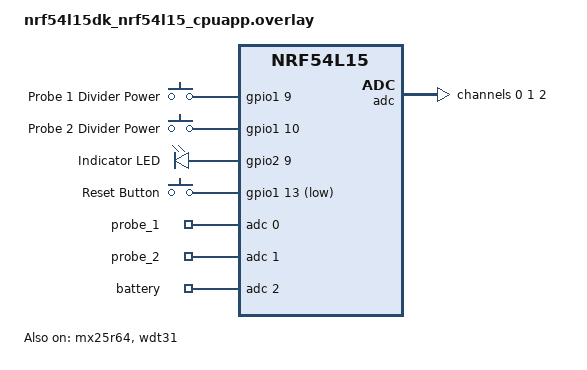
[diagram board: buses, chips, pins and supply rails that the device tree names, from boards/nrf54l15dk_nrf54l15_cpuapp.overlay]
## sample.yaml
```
sample:
  description: Matter Dual Temperature Sensor
  name: Matter Dual Temperature Sensor
common:
  tags:
    - sysbuild
    - ci_samples_matter
  # Only the nRF54L15 overlays describe this application's hardware (the
  # zephyr,user ADC channels, the probe divider power pins, the indicator LED
  # and the reset button), so no other board can be built.
  integration_platforms:
    - nrf54l15dk/nrf54l15/cpuapp
  platform_allow:
    - nrf54l15dk/nrf54l15/cpuapp
tests:
  sample.matter.dual_temperature_sensor.debug:
    sysbuild: true
    build_only: true
  sample.matter.dual_temperature_sensor.release:
    sysbuild: true
    build_only: true
    extra_args:
      - EXTRA_CONF_FILE=prj_release.conf
  sample.matter.dual_temperature_sensor.internal:
    sysbuild: true
    build_only: true
    extra_args:
      - FILE_SUFFIX=internal
  sample.matter.dual_temperature_sensor.release.internal:
    sysbuild: true
    build_only: true
    extra_args:
      - FILE_SUFFIX=internal
      - EXTRA_CONF_FILE=prj_release.conf
  sample.matter.dual_temperature_sensor.minewsemi:
    sysbuild: true
    build_only: true
    extra_args:
      - FILE_SUFFIX=minewsemi
  sample.matter.dual_temperature_sensor.release.minewsemi:
    sysbuild: true
    build_only: true
    extra_args:
      - FILE_SUFFIX=minewsemi
      - EXTRA_CONF_FILE=prj_release.conf
```

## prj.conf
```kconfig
#
# Copyright (c) 2021 Nordic Semiconductor ASA
#
# SPDX-License-Identifier: LicenseRef-Nordic-5-Clause
#

# This sample uses Kconfig.defaults to set options common for all
# samples. This file should contain only options specific for this sample
# or overrides of default values.

# Enable CHIP
CONFIG_CHIP=y
CONFIG_CHIP_PROJECT_CONFIG="src/chip_project_config.h"

# Configure ZAP file name
CONFIG_NCS_SAMPLE_MATTER_ZAP_FILE_PATH="${APPLICATION_CONFIG_DIR}/src/zap/template.zap"

# 32768 == 0x8000 (example Product ID added temporaly,
# but it must be changed with proper PID from the list:
# https://github.com/project-chip/connectedhomeip/blob/482e6fd03196a6de45465a90003947ef4b86e0b1/docs/examples/discussion/PID_allocation_for_example_apps.md)
CONFIG_CHIP_DEVICE_PRODUCT_ID=32768
CONFIG_STD_CPP17=y

# Enable Matter pairing automatically on application start.
CONFIG_CHIP_ENABLE_PAIRING_AUTOSTART=y

# Enable Matter extended announcement and increase duration to 1 hour.
CONFIG_CHIP_BLE_EXT_ADVERTISING=y
CONFIG_CHIP_BLE_ADVERTISING_DURATION=60

# Add support for LEDs and buttons on Nordic development kits
CONFIG_DK_LIBRARY=n

# Bluetooth Low Energy configuration
CONFIG_BT_DEVICE_NAME="DualTempSensor"

# Other settings
CONFIG_THREAD_NAME=y
CONFIG_MPU_STACK_GUARD=y
CONFIG_RESET_ON_FATAL_ERROR=y
CONFIG_CHIP_LIB_SHELL=y
CONFIG_NCS_SAMPLE_MATTER_TEST_SHELL=y

# Disable NFC onboarding
CONFIG_CHIP_NFC_ONBOARDING_PAYLOAD=n

# Enable Factory Data feature
CONFIG_CHIP_FACTORY_DATA=y
CONFIG_CHIP_FACTORY_DATA_BUILD=y

CONFIG_GPIO=y
CONFIG_ADC=y

CONFIG_USE_SEGGER_RTT=y
CONFIG_LOG_MODE_MINIMAL=n
CONFIG_LOG_MODE_IMMEDIATE=y
CONFIG_LOG_BACKEND_RTT=y

CONFIG_CHIP_PERSISTENT_SUBSCRIPTIONS=n

CONFIG_CLOCK_CONTROL_NRF_K32SRC_XTAL=y
CONFIG_CLOCK_CONTROL_NRF_K32SRC_RC=n

CONFIG_BT_RX_STACK_SIZE=2048

CONFIG_OPENTHREAD_DEFAULT_TX_POWER=8

# Enabling low power
CONFIG_PM_DEVICE=y

# Switch Minimal Thread Device on
CONFIG_OPENTHREAD_NORDIC_LIBRARY_MTD=y
CONFIG_OPENTHREAD_MTD=y
CONFIG_OPENTHREAD_FTD=n

# Set Matter as Intermittent Connected Device
CONFIG_CHIP_ENABLE_ICD_SUPPORT=y
CONFIG_CHIP_ICD_LIT_SUPPORT=y
CONFIG_CHIP_ICD_UAT_SUPPORT=y
CONFIG_CHIP_ICD_REPORT_ON_ACTIVE_MODE=y

# How long the device stays in ActiveMode (fast polling) after it wakes, which is
# the window a client has to answer a check-in. ActiveModeThreshold only extends
# ActiveMode once something has been received, so it does not help here. The 300 ms
# default is shorter than a controller needs to resolve the node over DNS-SD and
# start CASE (~400 ms seen from the heating monitor): its Sigma1 then reached the
# parent just after the device went idle, sat there for the 300 s slow poll, and
# the session setup timed out. 2 s covers that with a few 500 ms fast polls spare,
# for a handful of extra polls per wake.
#
CONFIG_CHIP_ICD_ACTIVE_MODE_DURATION=2000

# CONFIG_CHIP_ICD_SLOW_POLL_INTERVAL defaults to 300000 (300s) once LIT support is
# on, but OpenThread's child timeout defaults to 240s. Left alone, a device that
# has been promoted to LIT operation polls its parent less often than the parent
# is willing to wait, so the parent drops the child and every idle period ends in
# a re-attach - which costs far more energy than the polling it was meant to save.
# The SIT slow poll limit (15s) masks this until a controller registers as an ICD
# client, so it only shows up once the device is in a real ecosystem.
#
# The child timeout has to outlast the polling interval with enough margin to
# survive a poll that does not get through.
#
CONFIG_OPENTHREAD_MLE_CHILD_TIMEOUT=360

# Child supervision: if nothing arrives from the parent within this many seconds,
# the child sends it a Child Update Request to check it is still attached. The
# 190s default is shorter than the 300s slow poll, and the child only hears from
# its parent when it polls, so it fired on every idle period. At 330s it only
# fires when a poll came back empty - still ahead of the parent's 360s child
# timeout, so the child can re-sync before the parent gives up on it.
#
CONFIG_OPENTHREAD_CHILD_SUPERVISION_CHECK_TIMEOUT=330

# More power saving.
CONFIG_RAM_POWER_DOWN_LIBRARY=y
```

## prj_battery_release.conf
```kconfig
# Configure ZAP file name
CONFIG_NCS_SAMPLE_MATTER_ZAP_FILE_PATH="${APPLICATION_CONFIG_DIR}/src/zap_battery/template.zap"

# Enable system reset on fatal error
CONFIG_RESET_ON_FATAL_ERROR=y

CONFIG_THREAD_NAME=n
CONFIG_MPU_STACK_GUARD=n
CONFIG_CHIP_LIB_SHELL=n
CONFIG_NCS_SAMPLE_MATTER_TEST_SHELL=n

# Disable all debug features
CONFIG_USE_SEGGER_RTT=n
CONFIG_SHELL=n
CONFIG_OPENTHREAD_SHELL=n
CONFIG_CHIP_LIB_SHELL=n
CONFIG_CONSOLE=n
CONFIG_UART_CONSOLE=n
CONFIG_SERIAL=n
CONFIG_LOG=n
CONFIG_LOG_MODE_MINIMAL=y
CONFIG_LOG_MODE_IMMEDIATE=n
CONFIG_LOG_BACKEND_RTT=n
CONFIG_ASSERT_VERBOSE=n
CONFIG_ASSERT_NO_FILE_INFO=y
CONFIG_PRINTK=n
CONFIG_PRINTK_SYNC=n
CONFIG_THREAD_NAME=n
CONFIG_BOOT_BANNER=n

# Enable Watchdog
CONFIG_NCS_SAMPLE_MATTER_WATCHDOG=n

# Enable LTO to decrease the flash usage.
CONFIG_LTO=y
CONFIG_ISR_TABLES_LOCAL_DECLARATION=y

# Enabling low power
CONFIG_PM_DEVICE=y
CONFIG_PM_DEVICE_RUNTIME=y

CONFIG_OPENTHREAD_MTD=y
CONFIG_OPENTHREAD_NORDIC_LIBRARY_MTD=y

CONFIG_CHIP_ENABLE_ICD_SUPPORT=y
CONFIG_CHIP_ICD_LIT_SUPPORT=y
CONFIG_CHIP_ICD_REPORT_ON_ACTIVE_MODE=y

CONFIG_RAM_POWER_DOWN_LIBRARY=y
```

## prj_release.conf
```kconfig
# Release overrides. Applied on top of prj.conf, which already carries the ZAP
# file path, the MTD/ICD configuration and the base power savings.

# Enable system reset on fatal error
CONFIG_RESET_ON_FATAL_ERROR=y

CONFIG_THREAD_NAME=n
CONFIG_MPU_STACK_GUARD=n
CONFIG_CHIP_LIB_SHELL=n
CONFIG_NCS_SAMPLE_MATTER_TEST_SHELL=n

# Disable all debug features
CONFIG_USE_SEGGER_RTT=n
CONFIG_SHELL=n
CONFIG_OPENTHREAD_SHELL=n
CONFIG_CHIP_LIB_SHELL=n
CONFIG_CONSOLE=n
CONFIG_UART_CONSOLE=n
CONFIG_SERIAL=n
CONFIG_LOG=n
CONFIG_LOG_MODE_MINIMAL=y
CONFIG_LOG_MODE_IMMEDIATE=n
CONFIG_LOG_BACKEND_RTT=n
CONFIG_ASSERT_VERBOSE=n
CONFIG_ASSERT_NO_FILE_INFO=y
CONFIG_PRINTK=n
CONFIG_PRINTK_SYNC=n
CONFIG_BOOT_BANNER=n

# Enable Watchdog
CONFIG_NCS_SAMPLE_MATTER_WATCHDOG=n

# Enable LTO to decrease the flash usage.
CONFIG_LTO=y
CONFIG_ISR_TABLES_LOCAL_DECLARATION=y

# Additional power saving on top of prj.conf
CONFIG_PM_DEVICE_RUNTIME=y
```

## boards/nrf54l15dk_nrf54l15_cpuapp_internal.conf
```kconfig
#
# Copyright (c) 2024 Nordic Semiconductor ASA
#
# SPDX-License-Identifier: LicenseRef-Nordic-5-Clause
#

# SPI NOR is not disabled here: NCS v3.2 removed CONFIG_CHIP_SPI_NOR and now
# derives CONFIG_SPI_NOR from the devicetree, and the overlay for this board
# already disables mx25r64.

# Enable Watchdog
CONFIG_NCS_SAMPLE_MATTER_WATCHDOG=y

# Enable LTO to decrease the flash usage.
CONFIG_LTO=y
CONFIG_ISR_TABLES_LOCAL_DECLARATION=y
```

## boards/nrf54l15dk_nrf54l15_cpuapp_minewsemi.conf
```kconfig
#
# Copyright (c) 2024 Nordic Semiconductor ASA
#
# SPDX-License-Identifier: LicenseRef-Nordic-5-Clause
#

CONFIG_POWEROFF=y

# Enable Watchdog
CONFIG_NCS_SAMPLE_MATTER_WATCHDOG=n

# Enable LTO to decrease the flash usage.
CONFIG_LTO=y
CONFIG_ISR_TABLES_LOCAL_DECLARATION=y
```

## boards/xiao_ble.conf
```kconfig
# Seeed XIAO nRF52840, four probes, USB powered.
#
# Applied on top of prj.conf, which is written for the battery-powered nRF54L15 board.

# Four temperature endpoints, a wired PowerSource and no ICD Management cluster.
CONFIG_NCS_SAMPLE_MATTER_ZAP_FILE_PATH="${APPLICATION_CONFIG_DIR}/src/zap_quad/template.zap"

CONFIG_BT_DEVICE_NAME="QuadTempSensor"

# The board defaults assume the UF2 bootloader. This build runs MCUboot with the partition
# manager layout in pm_static_xiao_ble_nrf52840.yml instead, and is flashed over SWD.
CONFIG_BUILD_OUTPUT_UF2=n

# USB powered, so it is an always-on Thread router-capable device rather than a sleepy
# end device. Readings then reach the controller as they are taken, which the heat
# calculations need: they combine probes that must be sampled at the same moment.
CONFIG_CHIP_ENABLE_ICD_SUPPORT=n
CONFIG_CHIP_ICD_LIT_SUPPORT=n
CONFIG_CHIP_ICD_UAT_SUPPORT=n
CONFIG_CHIP_ICD_REPORT_ON_ACTIVE_MODE=n
CONFIG_OPENTHREAD_NORDIC_LIBRARY_MTD=n
CONFIG_OPENTHREAD_NORDIC_LIBRARY_FTD=y
CONFIG_OPENTHREAD_MTD=n
CONFIG_OPENTHREAD_FTD=y
CONFIG_RAM_POWER_DOWN_LIBRARY=n

# Whether this board carries a 32 kHz crystal is not something to bet the radio on; the
# calibrated RC oscillator is well within what Thread and BLE need.
CONFIG_CLOCK_CONTROL_NRF_K32SRC_XTAL=n
CONFIG_CLOCK_CONTROL_NRF_K32SRC_RC=y

# The board's console and shell run over USB CDC ACM. prj.conf logs in immediate mode,
# which would write to the USB stack from whatever context logs; defer it to the log thread.
CONFIG_LOG_MODE_IMMEDIATE=n
CONFIG_LOG_MODE_DEFERRED=y

# The 2 MB QSPI flash holds the MCUboot secondary slot for Matter OTA.
CONFIG_NORDIC_QSPI_NOR=y
CONFIG_NORDIC_QSPI_NOR_FLASH_LAYOUT_PAGE_SIZE=4096
CONFIG_NORDIC_QSPI_NOR_STACK_WRITE_BUFFER_SIZE=16
```

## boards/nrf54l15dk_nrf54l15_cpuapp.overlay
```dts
/*
 * Copyright (c) 2024 Nordic Semiconductor ASA
 *
 * SPDX-License-Identifier: LicenseRef-Nordic-5-Clause
 */

/ {
	power {
		compatible = "gpio-keys";
		probe_1_divider_power: probe_1_divider_power {
			gpios = <&gpio1 9 (GPIO_PULL_DOWN | GPIO_ACTIVE_HIGH)>;
			label = "Probe 1 Divider Power";
		};
		probe_2_divider_power: probe_2_divider_power {
			gpios = <&gpio1 10 (GPIO_PULL_DOWN | GPIO_ACTIVE_HIGH)>;
			label = "Probe 2 Divider Power";
		};
	};

	leds {
		compatible = "gpio-leds";
		led0: led_0 {
			gpios = <&gpio2 9 GPIO_ACTIVE_HIGH>;
			label = "Indicator LED";
		};
	};

	buttons {
		compatible = "gpio-keys";
		button0: button_0 {
			gpios = <&gpio1 13 (GPIO_PULL_UP | GPIO_ACTIVE_LOW)>;
			label = "Reset Button";
		};
	};

	aliases {
		// Use watchdog wdt31 as the application watchdog
		watchdog0 = &wdt31;
		indicator-led = &led0;
		reset-button = &button0;
	};

	chosen {
	 	nordic,pm-ext-flash = &mx25r64;
	};

	zephyr,user {
		io-channels = <&adc 0>, <&adc 1>, <&adc 2>;
		io-channel-names = "probe_1", "probe_2", "battery";
	};
};

&adc {
	#address-cells = <1>;
	#size-cells = <0>;
    status = "okay";

	/* Probe dividers. Powered from a GPIO switching VDD, so the node swings
	 * against the cell voltage rather than a fixed rail, and it is the NTC's
	 * high-resistance (cold) end that pushes the node up towards the supply.
	 *
	 * Gain 1/4 against the 900 mV internal reference puts full scale at 3.6 V,
	 * which covers the whole rail. Gain 1/2 would cap it at 1.8 V - with a fresh
	 * 3.0 V cell that saturates below about 16 C, and below about 5 C at 2.5 V.
	 *
	 * The battery channel below deliberately uses the same gain: the resistance
	 * is derived from the ratio of these two readings, and matching gains keeps
	 * that ratio a straight division.
	 */
	channel@0 {
		reg = <0>;
		zephyr,gain = "ADC_GAIN_1_4";
		zephyr,reference = "ADC_REF_INTERNAL";
		zephyr,acquisition-time = <ADC_ACQ_TIME_DEFAULT>;
		zephyr,input-positive = <NRF_SAADC_AIN5>;
		zephyr,resolution = <12>;
		zephyr,oversampling = <8>;
	};

	channel@1 {
		reg = <1>;
		zephyr,gain = "ADC_GAIN_1_4";
		zephyr,reference = "ADC_REF_INTERNAL";
		zephyr,acquisition-time = <ADC_ACQ_TIME_DEFAULT>;
		zephyr,input-positive = <NRF_SAADC_AIN4>;
		zephyr,resolution = <12>;
		zephyr,oversampling = <8>;
	};

	/* Battery voltage. The coin cell drives VDD directly - there is no LDO and
	 * no divider on this board - so the SAADC internal VDD input gives the cell
	 * voltage with no extra hardware and no quiescent draw.
	 *
	 * The nRF54L internal reference is 900 mV, so gain 1/4 puts full scale at
	 * 3.6 V. Note the nRF54L15 has no 1/6 gain (only 2, 1, 2/3, 2/4, 2/5, 2/6,
	 * 2/7, 2/8), so ADC_GAIN_1_6 would fail channel setup with -EINVAL.
	 */
	channel@2 {
		reg = <2>;
		zephyr,gain = "ADC_GAIN_1_4";
		zephyr,reference = "ADC_REF_INTERNAL";
		zephyr,acquisition-time = <ADC_ACQ_TIME_DEFAULT>;
		zephyr,input-positive = <NRF_SAADC_VDD>;
		zephyr,resolution = <12>;
		zephyr,oversampling = <8>;
	};
};

// restore full RRAM and SRAM space - by default some parts are dedicated to FLRP
&cpuapp_rram {
	reg = <0x0 DT_SIZE_K(1524)>;
};

&cpuapp_sram {
	reg = <0x20000000 DT_SIZE_K(256)>;
	ranges = <0x0 0x20000000  0x40000>;
};

&mx25r64 {
	status = "okay";
};

&wdt31 {
	status = "okay";
};
```

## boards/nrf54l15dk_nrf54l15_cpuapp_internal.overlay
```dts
/*
 * Copyright (c) 2024 Nordic Semiconductor ASA
 *
 * SPDX-License-Identifier: LicenseRef-Nordic-5-Clause
 */

/ {
	power {
		compatible = "gpio-keys";
		probe_1_divider_power: probe_1_divider_power {
			gpios = <&gpio1 9 (GPIO_PULL_DOWN | GPIO_ACTIVE_HIGH)>;
			label = "Probe 1 Divider Power";
		};
		probe_2_divider_power: probe_2_divider_power {
			gpios = <&gpio1 10 (GPIO_PULL_DOWN | GPIO_ACTIVE_HIGH)>;
			label = "Probe 2 Divider Power";
		};
	};

	leds {
		compatible = "gpio-leds";
		led0: led_0 {
			gpios = <&gpio2 9 GPIO_ACTIVE_HIGH>;
			label = "Indicator LED";
		};
	};

	buttons {
		compatible = "gpio-keys";
		button0: button_0 {
			gpios = <&gpio1 13 (GPIO_PULL_UP | GPIO_ACTIVE_LOW)>;
			label = "Reset Button";
		};
	};

	aliases {
		// Use watchdog wdt31 as the application watchdog
		watchdog0 = &wdt31;
		indicator-led = &led0;
		reset-button = &button0;
	};

	zephyr,user {
		io-channels = <&adc 0>, <&adc 1>, <&adc 2>;
		io-channel-names = "probe_1", "probe_2", "battery";
	};
};

&adc {
	#address-cells = <1>;
	#size-cells = <0>;
    status = "okay";

	channel@0 {
		reg = <0>;
		zephyr,gain = "ADC_GAIN_1_2";
		zephyr,reference = "ADC_REF_INTERNAL";
		zephyr,acquisition-time = <ADC_ACQ_TIME_DEFAULT>;
		zephyr,input-positive = <NRF_SAADC_AIN5>;
		zephyr,resolution = <12>;
		zephyr,oversampling = <8>;
	};

	channel@1 {
		reg = <1>;
		zephyr,gain = "ADC_GAIN_1_2";
		zephyr,reference = "ADC_REF_INTERNAL";
		zephyr,acquisition-time = <ADC_ACQ_TIME_DEFAULT>;
		zephyr,input-positive = <NRF_SAADC_AIN4>;
		zephyr,resolution = <12>;
		zephyr,oversampling = <8>;
	};

	/* Battery voltage. The coin cell drives VDD directly - there is no LDO and
	 * no divider on this board - so the SAADC internal VDD input gives the cell
	 * voltage with no extra hardware and no quiescent draw.
	 *
	 * The nRF54L internal reference is 900 mV, so gain 1/4 puts full scale at
	 * 3.6 V. Note the nRF54L15 has no 1/6 gain (only 2, 1, 2/3, 2/4, 2/5, 2/6,
	 * 2/7, 2/8), so ADC_GAIN_1_6 would fail channel setup with -EINVAL.
	 */
	channel@2 {
		reg = <2>;
		zephyr,gain = "ADC_GAIN_1_4";
		zephyr,reference = "ADC_REF_INTERNAL";
		zephyr,acquisition-time = <ADC_ACQ_TIME_DEFAULT>;
		zephyr,input-positive = <NRF_SAADC_VDD>;
		zephyr,resolution = <12>;
		zephyr,oversampling = <8>;
	};
};

// restore full RRAM and SRAM space - by default some parts are dedicated to FLRP
&cpuapp_rram {
	reg = <0x0 DT_SIZE_K(1524)>;
};

&cpuapp_sram {
	reg = <0x20000000 DT_SIZE_K(256)>;
	ranges = <0x0 0x20000000  0x40000>;
};

&uart20 {
	status = "disabled";
};

&uart30 {
	status = "disabled";
};

&mx25r64 {
	status = "disabled";
};

&pwm20 {
	status = "disabled";
};

&wdt31 {
	status = "okay";
};
```

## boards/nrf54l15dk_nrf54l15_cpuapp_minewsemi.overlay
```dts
/*
 * Copyright (c) 2024 Nordic Semiconductor ASA
 *
 * SPDX-License-Identifier: LicenseRef-Nordic-5-Clause
 */

/ {
	/* No pull on any of these: gpio_pin_configure_dt() ORs the devicetree flags
	 * into the configuration, so a pull-down on a pin that is driven leaves the
	 * internal ~13k resistor fighting the output driver for as long as the pin is
	 * high - about 230uA at 3.0V. Only the button below is a real input and keeps
	 * its pull-down.
	 */
	power {
		compatible = "gpio-keys";
		probe_1_divider_power: probe_1_divider_power {
			gpios = <&gpio1 9 GPIO_ACTIVE_HIGH>;
			label = "Probe 1 Divider Power";
		};
		probe_2_divider_power: probe_2_divider_power {
			gpios = <&gpio1 10 GPIO_ACTIVE_HIGH>;
			label = "Probe 2 Divider Power";
		};
	};

	leds {
		compatible = "gpio-leds";
		led0: led_0 {
			gpios = <&gpio2 10 GPIO_ACTIVE_HIGH>;
			label = "Indicator LED";
		};
	};

	buttons {
		compatible = "gpio-keys";
		button0: button_0 {
			gpios = <&gpio1 13 (GPIO_PULL_DOWN | GPIO_ACTIVE_HIGH)>;
			label = "Reset Button";
		};
	};

	aliases {
		indicator-led = &led0;
		reset-button = &button0;
	};

	zephyr,user {
		io-channels = <&adc 0>, <&adc 1>, <&adc 2>;
		io-channel-names = "probe_1", "probe_2", "battery";
	};
};

&gpio1 {
	status = "okay";
	sense-edge-mask = <0xffffffff>;
};

&adc {
	#address-cells = <1>;
	#size-cells = <0>;
    status = "okay";

	/* Probe dividers. Powered from a GPIO switching VDD, so the node swings
	 * against the cell voltage rather than a fixed rail, and it is the NTC's
	 * high-resistance (cold) end that pushes the node up towards the supply.
	 *
	 * Gain 1/4 against the 900 mV internal reference puts full scale at 3.6 V,
	 * which covers the whole rail. Gain 1/2 would cap it at 1.8 V - with a fresh
	 * 3.0 V cell that saturates below about 16 C, and below about 5 C at 2.5 V.
	 *
	 * The battery channel below deliberately uses the same gain: the resistance
	 * is derived from the ratio of these two readings, and matching gains keeps
	 * that ratio a straight division.
	 */
	channel@0 {
		reg = <0>;
		zephyr,gain = "ADC_GAIN_1_4";
		zephyr,reference = "ADC_REF_INTERNAL";
		zephyr,acquisition-time = <ADC_ACQ_TIME_DEFAULT>;
		zephyr,input-positive = <NRF_SAADC_AIN4>;
		zephyr,resolution = <12>;
		zephyr,oversampling = <8>;
	};

	channel@1 {
		reg = <1>;
		zephyr,gain = "ADC_GAIN_1_4";
		zephyr,reference = "ADC_REF_INTERNAL";
		zephyr,acquisition-time = <ADC_ACQ_TIME_DEFAULT>;
		zephyr,input-positive = <NRF_SAADC_AIN5>;
		zephyr,resolution = <12>;
		zephyr,oversampling = <8>;
	};

	/* Battery voltage. The coin cell drives VDD directly - there is no LDO and
	 * no divider on this board - so the SAADC internal VDD input gives the cell
	 * voltage with no extra hardware and no quiescent draw.
	 *
	 * The nRF54L internal reference is 900 mV, so gain 1/4 puts full scale at
	 * 3.6 V. Note the nRF54L15 has no 1/6 gain (only 2, 1, 2/3, 2/4, 2/5, 2/6,
	 * 2/7, 2/8), so ADC_GAIN_1_6 would fail channel setup with -EINVAL.
	 */
	channel@2 {
		reg = <2>;
		zephyr,gain = "ADC_GAIN_1_4";
		zephyr,reference = "ADC_REF_INTERNAL";
		zephyr,acquisition-time = <ADC_ACQ_TIME_DEFAULT>;
		zephyr,input-positive = <NRF_SAADC_VDD>;
		zephyr,resolution = <12>;
		zephyr,oversampling = <8>;
	};
};

// restore full RRAM and SRAM space - by default some parts are dedicated to FLRP
&cpuapp_rram {
	reg = <0x0 DT_SIZE_K(1524)>;
};

&cpuapp_sram {
	reg = <0x20000000 DT_SIZE_K(256)>;
	ranges = <0x0 0x20000000  0x40000>;
};

/* Disable unused communication peripherals */
&i2c20 {
	status = "disabled";
};

&i2c21 {
	status = "disabled";
};

&i2c22 {
	status = "disabled";
};

&spi20 {
	status = "disabled";
};

&spi21 {
	status = "disabled";
};

&spi22 {
	status = "disabled";
};

&uart20 {
	status = "disabled";
};

&uart21 {
	status = "disabled";
};

&uart22 {
	status = "disabled";
};

&uart30 {
	status = "disabled";
};

&mx25r64 {
	status = "disabled";
};

/* Disable audio/sensor peripherals if not used */
&pdm20 {
	status = "disabled";
};

&pdm21 {
	status = "disabled";
};

&i2s20 {
	status = "disabled";
};

/* Disable quadrature decoder if not used */
&qdec20 {
	status = "disabled";
};

&qdec21 {
	status = "disabled";
};

&pwm20 {
	status = "disabled";
};

&pwm21 {
	status = "disabled";
};

&pwm22 {
	status = "disabled";
};

&wdt31 {
	status = "disabled";
};

/* Disable NFC if not used */
&nfct {
	status = "disabled";
};
```

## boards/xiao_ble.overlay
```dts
/*
 * Seeed XIAO nRF52840: four NTC probes, USB powered.
 *
 * Wiring (see README "Four probe build"):
 *
 *   3V3 --[10k]--+-- A0/A1/A2/A3
 *                |
 *               NTC   (screw terminal)
 *                |
 *   GND ---------+-- 100 nF from the A-pin node to GND
 *
 *   Optional factory reset button: D6 to GND.
 */

#include "xiao_ble_partitions.dtsi"

/ {
	buttons {
		compatible = "gpio-keys";
		button0: button_0 {
			gpios = <&gpio1 11 (GPIO_PULL_UP | GPIO_ACTIVE_LOW)>;	/* D6 */
			label = "Reset Button";
		};
	};

	aliases {
		indicator-led = &led1;	/* green, active low */
		reset-button = &button0;
	};

	/* No "battery" channel and no probe_N_divider_power nodes: the dividers sit on the
	 * 3V3 rail permanently, and each probe is read against VDD itself (see &adc below), so
	 * the supply never has to be measured.
	 */
	zephyr,user {
		io-channels = <&adc 0>, <&adc 1>, <&adc 2>, <&adc 3>;
		io-channel-names = "probe_1", "probe_2", "probe_3", "probe_4";
	};
};

&adc {
	#address-cells = <1>;
	#size-cells = <0>;
	status = "okay";

	/* Ratiometric: the reference is VDD/4 and the gain 1/4, so full scale is VDD - the
	 * same 3V3 rail that feeds the dividers. A reading is then the divider ratio itself,
	 * Rt = R * raw / (4096 - raw), and drift in the regulator cancels out.
	 *
	 * The source impedance is ~5k (10k against a 10k NTC near 25 C) with 100 nF across the
	 * input, well inside what the default 10 us acquisition time handles.
	 */
	channel@0 {
		reg = <0>;
		zephyr,gain = "ADC_GAIN_1_4";
		zephyr,reference = "ADC_REF_VDD_1_4";
		zephyr,acquisition-time = <ADC_ACQ_TIME_DEFAULT>;
		zephyr,input-positive = <NRF_SAADC_AIN0>;	/* A0, P0.02 */
		zephyr,resolution = <12>;
		zephyr,oversampling = <8>;
	};

	channel@1 {
		reg = <1>;
		zephyr,gain = "ADC_GAIN_1_4";
		zephyr,reference = "ADC_REF_VDD_1_4";
		zephyr,acquisition-time = <ADC_ACQ_TIME_DEFAULT>;
		zephyr,input-positive = <NRF_SAADC_AIN1>;	/* A1, P0.03 */
		zephyr,resolution = <12>;
		zephyr,oversampling = <8>;
	};

	channel@2 {
		reg = <2>;
		zephyr,gain = "ADC_GAIN_1_4";
		zephyr,reference = "ADC_REF_VDD_1_4";
		zephyr,acquisition-time = <ADC_ACQ_TIME_DEFAULT>;
		zephyr,input-positive = <NRF_SAADC_AIN4>;	/* A2, P0.28 */
		zephyr,resolution = <12>;
		zephyr,oversampling = <8>;
	};

	channel@3 {
		reg = <3>;
		zephyr,gain = "ADC_GAIN_1_4";
		zephyr,reference = "ADC_REF_VDD_1_4";
		zephyr,acquisition-time = <ADC_ACQ_TIME_DEFAULT>;
		zephyr,input-positive = <NRF_SAADC_AIN5>;	/* A3, P0.29 */
		zephyr,resolution = <12>;
		zephyr,oversampling = <8>;
	};
};
```

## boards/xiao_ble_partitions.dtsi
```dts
/*
 * Flash layout for the Seeed XIAO nRF52840 running MCUboot instead of the factory UF2
 * bootloader. Shared by the application and MCUboot overlays, and kept in step with
 * pm_static_xiao_ble_nrf52840.yml.
 *
 * The board's own nrf52840_partition_uf2_sdv7.dtsi reserves 156 kB at the bottom of flash for
 * a SoftDevice this firmware does not use, and calls the UF2 bootloader region at 0xf4000
 * "boot_partition". MCUboot links itself into whatever boot_partition is, so the UF2 layout
 * has to go before it can be used.
 *
 * Programming this firmware over SWD erases the UF2 bootloader. To go back to UF2, reflash the
 * Adafruit nRF52 bootloader.
 */

/delete-node/ &code_partition;
/delete-node/ &storage_partition;
/delete-node/ &boot_partition;
/delete-node/ &reserved_partition_0;

&flash0 {
	partitions {
		compatible = "fixed-partitions";
		#address-cells = <1>;
		#size-cells = <1>;

		boot_partition: partition@0 {
			label = "mcuboot";
			reg = <0x00000000 0x00008000>;
		};

		slot0_partition: partition@8000 {
			label = "image-0";
			reg = <0x00008000 0x000ef000>;
		};

		factory_partition: partition@f7000 {
			label = "factory-data";
			reg = <0x000f7000 0x00001000>;
		};

		storage_partition: partition@f8000 {
			label = "storage";
			reg = <0x000f8000 0x00008000>;
		};
	};
};

/* The MCUboot secondary slot lives on the 2 MB QSPI flash (mcuboot_secondary in the PM file).
 * MCUboot's build requires the slot1_partition label to exist.
 */
&p25q16h {
	partitions {
		compatible = "fixed-partitions";
		#address-cells = <1>;
		#size-cells = <1>;

		slot1_partition: partition@0 {
			label = "image-1";
			reg = <0x00000000 0x000ef000>;
		};
	};
};

/ {
	chosen {
		zephyr,code-partition = &slot0_partition;
		nordic,pm-ext-flash = &p25q16h;
	};
};
```

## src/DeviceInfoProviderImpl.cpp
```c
/*
 *
 *    Copyright (c) 2022 Project CHIP Authors
 *
 *    Licensed under the Apache License, Version 2.0 (the "License");
 *    you may not use this file except in compliance with the License.
 *    You may obtain a copy of the License at
 *
 *        http://www.apache.org/licenses/LICENSE-2.0
 *
 *    Unless required by applicable law or agreed to in writing, software
 *    distributed under the License is distributed on an "AS IS" BASIS,
 *    WITHOUT WARRANTIES OR CONDITIONS OF ANY KIND, either express or implied.
 *    See the License for the specific language governing permissions and
 *    limitations under the License.
 */
#include <DeviceInfoProviderImpl.h>

#include <lib/core/TLV.h>
#include <lib/support/CHIPMemString.h>
#include <lib/support/CodeUtils.h>
#include <lib/support/DefaultStorageKeyAllocator.h>
#include <lib/support/SafeInt.h>
#include <platform/internal/CHIPDeviceLayerInternal.h>

#include <stdlib.h>
#include <string.h>

#include <cstring>

namespace chip
{
    namespace DeviceLayer
    {

        namespace
        {
            constexpr TLV::Tag kLabelNameTag = TLV::ContextTag(0);
            constexpr TLV::Tag kLabelValueTag = TLV::ContextTag(1);
        } // anonymous namespace

        DeviceInfoProviderImpl &DeviceInfoProviderImpl::GetDefaultInstance()
        {
            static DeviceInfoProviderImpl sInstance;
            return sInstance;
        }

        DeviceInfoProvider::FixedLabelIterator *DeviceInfoProviderImpl::IterateFixedLabel(EndpointId endpoint)
        {
            return chip::Platform::New<FixedLabelIteratorImpl>(endpoint);
        }

        DeviceInfoProviderImpl::FixedLabelIteratorImpl::FixedLabelIteratorImpl(EndpointId endpoint) : mEndpoint(endpoint)
        {
            mIndex = 0;
        }

        size_t DeviceInfoProviderImpl::FixedLabelIteratorImpl::Count()
        {
            return 1;
        }

        bool DeviceInfoProviderImpl::FixedLabelIteratorImpl::Next(FixedLabelType &output)
        {
            bool retval = true;

            // A hardcoded list for testing only
            CHIP_ERROR err = CHIP_NO_ERROR;

            const char *labelPtr = nullptr;
            const char *valuePtr = nullptr;

            VerifyOrReturnError(mIndex < 1, false);

            ChipLogProgress(DeviceLayer, "Get the fixed label with index:%u at endpoint:%d", static_cast<unsigned>(mIndex), mEndpoint);

            if (mIndex == 0)
            {
                labelPtr = "name";

                // Endpoint N carries probe N. The four probe build (XIAO nRF52840) adds
                // endpoints 3 and 4.
                static const char *const kProbeNames[] = {"Probe 1", "Probe 2", "Probe 3", "Probe 4"};

                if (mEndpoint >= 1 && mEndpoint <= 4)
                {
                    valuePtr = kProbeNames[mEndpoint - 1];
                }
                else
                {
                    err = CHIP_ERROR_INVALID_ARGUMENT;
                }
            }
            else
            {
                err = CHIP_ERROR_PERSISTED_STORAGE_VALUE_NOT_FOUND;
            }

            if (err == CHIP_NO_ERROR)
            {
                VerifyOrReturnError(std::strlen(labelPtr) <= kMaxLabelNameLength, false);
                VerifyOrReturnError(std::strlen(valuePtr) <= kMaxLabelValueLength, false);

                Platform::CopyString(mFixedLabelNameBuf, kMaxLabelNameLength + 1, labelPtr);
                Platform::CopyString(mFixedLabelValueBuf, kMaxLabelValueLength + 1, valuePtr);

                output.label = CharSpan::fromCharString(mFixedLabelNameBuf);
                output.value = CharSpan::fromCharString(mFixedLabelValueBuf);

                mIndex++;

                retval = true;
            }
            else
            {
                retval = false;
            }

            return retval;
        }

        CHIP_ERROR DeviceInfoProviderImpl::SetUserLabelLength(EndpointId endpoint, size_t val)
        {
            return mStorage->SyncSetKeyValue(DefaultStorageKeyAllocator::UserLabelLengthKey(endpoint).KeyName(), &val,
                                             static_cast<uint16_t>(sizeof(val)));
        }

        CHIP_ERROR DeviceInfoProviderImpl::GetUserLabelLength(EndpointId endpoint, size_t &val)
        {
            uint16_t len = static_cast<uint16_t>(sizeof(val));

            return mStorage->SyncGetKeyValue(DefaultStorageKeyAllocator::UserLabelLengthKey(endpoint).KeyName(), &val, len);
        }

        CHIP_ERROR DeviceInfoProviderImpl::SetUserLabelAt(EndpointId endpoint, size_t index, const UserLabelType &userLabel)
        {
            VerifyOrReturnError(CanCastTo<uint32_t>(index), CHIP_ERROR_INVALID_ARGUMENT);

            uint8_t buf[UserLabelTLVMaxSize()];
            TLV::TLVWriter writer;
            writer.Init(buf);

            TLV::TLVType outerType;
            ReturnErrorOnFailure(writer.StartContainer(TLV::AnonymousTag(), TLV::kTLVType_Structure, outerType));
            ReturnErrorOnFailure(writer.PutString(kLabelNameTag, userLabel.label));
            ReturnErrorOnFailure(writer.PutString(kLabelValueTag, userLabel.value));
            ReturnErrorOnFailure(writer.EndContainer(outerType));

            return mStorage->SyncSetKeyValue(
                DefaultStorageKeyAllocator::UserLabelIndexKey(endpoint, static_cast<uint32_t>(index)).KeyName(), buf,
                static_cast<uint16_t>(writer.GetLengthWritten()));
        }

        CHIP_ERROR DeviceInfoProviderImpl::DeleteUserLabelAt(EndpointId endpoint, size_t index)
        {
            return mStorage->SyncDeleteKeyValue(
                DefaultStorageKeyAllocator::UserLabelIndexKey(endpoint, static_cast<uint32_t>(index)).KeyName());
        }

        DeviceInfoProvider::UserLabelIterator *DeviceInfoProviderImpl::IterateUserLabel(EndpointId endpoint)
        {
            return chip::Platform::New<UserLabelIteratorImpl>(*this, endpoint);
        }

        DeviceInfoProviderImpl::UserLabelIteratorImpl::UserLabelIteratorImpl(DeviceInfoProviderImpl &provider, EndpointId endpoint) : mProvider(provider), mEndpoint(endpoint)
        {
            size_t total = 0;

            ReturnOnFailure(mProvider.GetUserLabelLength(mEndpoint, total));
            mTotal = total;
            mIndex = 0;
        }

        bool DeviceInfoProviderImpl::UserLabelIteratorImpl::Next(UserLabelType &output)
        {
            CHIP_ERROR err = CHIP_NO_ERROR;

            VerifyOrReturnError(mIndex < mTotal, false);
            VerifyOrReturnError(CanCastTo<uint32_t>(mIndex), false);

            uint8_t buf[UserLabelTLVMaxSize()];
            uint16_t len = static_cast<uint16_t>(sizeof(buf));

            err = mProvider.mStorage->SyncGetKeyValue(
                DefaultStorageKeyAllocator::UserLabelIndexKey(mEndpoint, static_cast<uint32_t>(mIndex)).KeyName(), buf, len);
            VerifyOrReturnError(err == CHIP_NO_ERROR, false);

            TLV::ContiguousBufferTLVReader reader;
            reader.Init(buf);
            err = reader.Next(TLV::kTLVType_Structure, TLV::AnonymousTag());
            VerifyOrReturnError(err == CHIP_NO_ERROR, false);

            TLV::TLVType containerType;
            VerifyOrReturnError(reader.EnterContainer(containerType) == CHIP_NO_ERROR, false);

            chip::CharSpan label;
            chip::CharSpan value;

            VerifyOrReturnError(reader.Next(kLabelNameTag) == CHIP_NO_ERROR, false);
            VerifyOrReturnError(reader.Get(label) == CHIP_NO_ERROR, false);

            VerifyOrReturnError(reader.Next(kLabelValueTag) == CHIP_NO_ERROR, false);
            VerifyOrReturnError(reader.Get(value) == CHIP_NO_ERROR, false);

            VerifyOrReturnError(reader.VerifyEndOfContainer() == CHIP_NO_ERROR, false);
            VerifyOrReturnError(reader.ExitContainer(containerType) == CHIP_NO_ERROR, false);

            Platform::CopyString(mUserLabelNameBuf, label);
            Platform::CopyString(mUserLabelValueBuf, value);

            output.label = CharSpan::fromCharString(mUserLabelNameBuf);
            output.value = CharSpan::fromCharString(mUserLabelValueBuf);

            mIndex++;

            return true;
        }

        DeviceInfoProvider::SupportedLocalesIterator *DeviceInfoProviderImpl::IterateSupportedLocales()
        {
            return chip::Platform::New<SupportedLocalesIteratorImpl>();
        }

        size_t DeviceInfoProviderImpl::SupportedLocalesIteratorImpl::Count()
        {
            // Hardcoded list of locales
            // {("en-US"), ("de-DE"), ("fr-FR"), ("en-GB"), ("es-ES"), ("zh-CN"), ("it-IT"), ("ja-JP")}

            return 8;
        }

        bool DeviceInfoProviderImpl::SupportedLocalesIteratorImpl::Next(CharSpan &output)
        {
            bool retval = true;

            // Hardcoded list of locales
            CHIP_ERROR err = CHIP_NO_ERROR;

            const char *activeLocalePtr = nullptr;

            VerifyOrReturnError(mIndex < 8, false);

            switch (mIndex)
            {
            case 0:
                activeLocalePtr = "en-US";
                break;
            case 1:
                activeLocalePtr = "de-DE";
                break;
            case 2:
                activeLocalePtr = "fr-FR";
                break;
            case 3:
                activeLocalePtr = "en-GB";
                break;
            case 4:
                activeLocalePtr = "es-ES";
                break;
            case 5:
                activeLocalePtr = "zh-CN";
                break;
            case 6:
                activeLocalePtr = "it-IT";
                break;
            case 7:
                activeLocalePtr = "ja-JP";
                break;
            default:
                err = CHIP_ERROR_PERSISTED_STORAGE_VALUE_NOT_FOUND;
                break;
            }

            if (err == CHIP_NO_ERROR)
            {
                VerifyOrReturnError(std::strlen(activeLocalePtr) <= kMaxActiveLocaleLength, false);

                Platform::CopyString(mActiveLocaleBuf, kMaxActiveLocaleLength + 1, activeLocalePtr);

                output = CharSpan::fromCharString(mActiveLocaleBuf);

                mIndex++;

                retval = true;
            }
            else
            {
                retval = false;
            }

            return retval;
        }

        DeviceInfoProvider::SupportedCalendarTypesIterator *DeviceInfoProviderImpl::IterateSupportedCalendarTypes()
        {
            return chip::Platform::New<SupportedCalendarTypesIteratorImpl>();
        }

        size_t DeviceInfoProviderImpl::SupportedCalendarTypesIteratorImpl::Count()
        {
            // Hardcoded list of strings
            // {("kBuddhist"), ("kChinese"), ("kCoptic"), ("kEthiopian"), ("kGregorian"), ("kHebrew"), ("kIndian"), ("kJapanese"),
            //  ("kKorean"), ("kPersian"), ("kTaiwanese"), ("kIslamic")}

            return 12;
        }

        bool DeviceInfoProviderImpl::SupportedCalendarTypesIteratorImpl::Next(CalendarType &output)
        {
            bool retval = true;

            // Hardcoded list of Strings that are valid values for the Calendar Types.
            CHIP_ERROR err = CHIP_NO_ERROR;

            VerifyOrReturnError(mIndex < 12, false);

            switch (mIndex)
            {
            case 0:
                output = app::Clusters::TimeFormatLocalization::CalendarTypeEnum::kBuddhist;
                break;
            case 1:
                output = app::Clusters::TimeFormatLocalization::CalendarTypeEnum::kChinese;
                break;
            case 2:
                output = app::Clusters::TimeFormatLocalization::CalendarTypeEnum::kCoptic;
                break;
            case 3:
                output = app::Clusters::TimeFormatLocalization::CalendarTypeEnum::kEthiopian;
                break;
            case 4:
                output = app::Clusters::TimeFormatLocalization::CalendarTypeEnum::kGregorian;
                break;
            case 5:
                output = app::Clusters::TimeFormatLocalization::CalendarTypeEnum::kHebrew;
                break;
            case 6:
                output = app::Clusters::TimeFormatLocalization::CalendarTypeEnum::kIndian;
                break;
            case 7:
                output = app::Clusters::TimeFormatLocalization::CalendarTypeEnum::kJapanese;
                break;
            case 8:
                output = app::Clusters::TimeFormatLocalization::CalendarTypeEnum::kKorean;
                break;
            case 9:
                output = app::Clusters::TimeFormatLocalization::CalendarTypeEnum::kPersian;
                break;
            case 10:
                output = app::Clusters::TimeFormatLocalization::CalendarTypeEnum::kTaiwanese;
                break;
            case 11:
                output = app::Clusters::TimeFormatLocalization::CalendarTypeEnum::kIslamic;
                break;
            default:
                err = CHIP_ERROR_PERSISTED_STORAGE_VALUE_NOT_FOUND;
                break;
            }

            if (err == CHIP_NO_ERROR)
            {
                mIndex++;
                retval = true;
            }
            else
            {
                retval = false;
            }

            return retval;
        }

    } // namespace DeviceLayer
} // namespace chip
```

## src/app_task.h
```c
/*
 * Copyright (c) 2021 Nordic Semiconductor ASA
 *
 * SPDX-License-Identifier: LicenseRef-Nordic-5-Clause
 */

#pragma once

#include <platform/CHIPDeviceLayer.h>

using namespace ::chip::DeviceLayer;

struct Identify;

class AppTask
{
public:
	static AppTask &Instance()
	{
		static AppTask sAppTask;
		return sAppTask;
	};

	CHIP_ERROR StartApp();

	static void IdentifyStartHandler(Identify *);
	static void IdentifyStopHandler(Identify *);

private:
	CHIP_ERROR Init();

	static void MatterEventHandler(const ChipDeviceEvent *event, intptr_t data);
	static void SensorMeasureHandler();
	static void SensorTimerCallback(k_timer *timer);
	static void BatteryMeasureHandler();
	static void BatteryTimerCallback(k_timer *timer);
	static void IndicatorTimerCallback(k_timer *timer);
	static void FactoryResetTimerCallback(k_timer *timer);
	static void FactoryResetHandler();
#ifdef CONFIG_CHIP_ICD_UAT_SUPPORT
	static void UserActiveModeHandler();
#endif

	static void ResetButtonCallback(const struct device *dev, struct gpio_callback *cb, uint32_t pins);
	static void ButtonDebounceTimerCallback(k_timer *timer);
	static void ResetButtonHandler();

	void ConfigureGPIO();
};
```

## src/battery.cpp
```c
/*
 * Copyright (c) 2024 Nordic Semiconductor ASA
 *
 * SPDX-License-Identifier: LicenseRef-Nordic-5-Clause
 */

#include "battery.h"

#include <zephyr/device.h>
#include <zephyr/devicetree.h>
#include <zephyr/drivers/adc.h>
#include <zephyr/logging/log.h>

LOG_MODULE_DECLARE(app, CONFIG_CHIP_APP_LOG_LEVEL);

#if !DT_NODE_EXISTS(DT_PATH(zephyr_user)) || !DT_NODE_HAS_PROP(DT_PATH(zephyr_user), io_channels)
#error "No suitable devicetree overlay specified"
#endif

namespace
{
const struct adc_dt_spec sAdc = ADC_DT_SPEC_GET_BY_NAME(DT_PATH(zephyr_user), battery);

uint16_t sAdcBuffer;

struct adc_sequence sAdcSequence = {
	.buffer = &sAdcBuffer,
	.buffer_size = sizeof(sAdcBuffer),
	.calibrate = true,
};
} /* namespace */

int BatteryMeasurementInit()
{
	if (!device_is_ready(sAdc.dev)) {
		LOG_ERR("ADC controller device not ready");
		return -ENODEV;
	}

	int err = adc_channel_setup_dt(&sAdc);

	if (err < 0) {
		LOG_ERR("Could not setup the battery ADC channel (%d)", err);
		return err;
	}

	LOG_INF("Battery measurement initialised");

	return 0;
}

int32_t BatteryMeasurementReadVoltageMv()
{
	int err = adc_sequence_init_dt(&sAdc, &sAdcSequence);

	if (err < 0) {
		LOG_ERR("Could not initialise the battery ADC sequence (%d)", err);
		return err;
	}

	err = adc_read_dt(&sAdc, &sAdcSequence);

	if (err < 0) {
		LOG_ERR("Could not read the battery ADC (%d)", err);
		return err;
	}

	int32_t voltageMv = static_cast<int32_t>(sAdcBuffer);

	err = adc_raw_to_millivolts_dt(&sAdc, &voltageMv);

	if (err < 0) {
		LOG_ERR("Battery value in mV not available (%d)", err);
		return err;
	}

	return voltageMv;
}
```

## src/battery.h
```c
/*
 * Copyright (c) 2024 Nordic Semiconductor ASA
 *
 * SPDX-License-Identifier: LicenseRef-Nordic-5-Clause
 */

#pragma once

#include <stdint.h>

/// @brief Sets up the ADC channel used to measure the supply voltage.
/// @return 0 on success, a negative errno otherwise.
int BatteryMeasurementInit();

/// @brief Reads the supply voltage.
///
/// The coin cell drives VDD directly, so the SAADC internal VDD input reads the
/// cell voltage and no divider scaling is applied.
///
/// @return the voltage in millivolts, or a negative errno on failure.
int32_t BatteryMeasurementReadVoltageMv();
```

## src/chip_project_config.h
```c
/*
 * Copyright (c) 2021 Nordic Semiconductor ASA
 *
 * SPDX-License-Identifier: LicenseRef-Nordic-5-Clause
 */

/**
 *    @file
 *          Example project configuration file for CHIP.
 *
 *          This is a place to put application or project-specific overrides
 *          to the default configuration values for general CHIP features.
 *
 */

#pragma once

// The nrfconnect platform default is 3, and the stack itself takes all three
// (the report scheduler, the DNS-SD server and the ICD management cluster).
// The application's own ICD state observer needs a fourth slot, otherwise
// RegisterObserver() silently returns nullptr.
//
#define CHIP_CONFIG_ICD_OBSERVERS_POOL_SIZE 4
```
